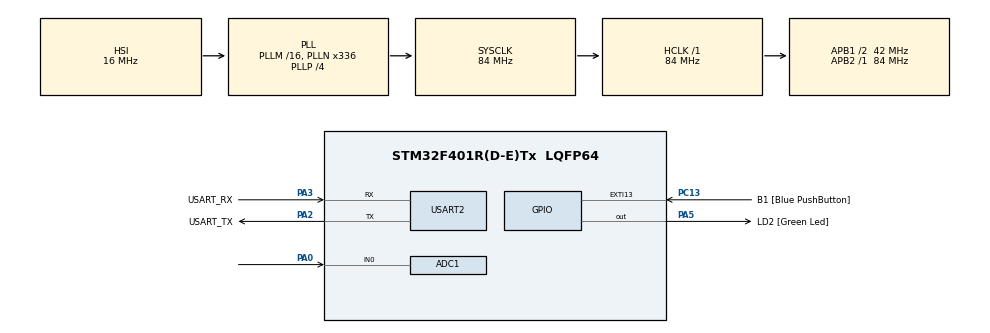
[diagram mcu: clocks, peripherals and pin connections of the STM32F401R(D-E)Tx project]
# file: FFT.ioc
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ADC1.Channel-0\#ChannelRegularConversion=ADC_CHANNEL_0
ADC1.ClockPrescaler=ADC_CLOCK_SYNC_PCLK_DIV4
ADC1.DMAContinuousRequests=ENABLE
ADC1.ExternalTrigConv=ADC_EXTERNALTRIGCONV_T3_TRGO
ADC1.NbrOfConversion=1
ADC1.NbrOfConversionFlag=1
ADC1.Rank-0\#ChannelRegularConversion=1
ADC1.SamplingTime-0\#ChannelRegularConversion=ADC_SAMPLETIME_144CYCLES
ADC1.master=1
Dma.ADC1.0.Direction=DMA_PERIPH_TO_MEMORY
Dma.ADC1.0.FIFOMode=DMA_FIFOMODE_DISABLE
Dma.ADC1.0.Instance=DMA2_Stream0
Dma.ADC1.0.MemDataAlignment=DMA_MDATAALIGN_HALFWORD
Dma.ADC1.0.MemInc=DMA_MINC_ENABLE
Dma.ADC1.0.Mode=DMA_CIRCULAR
Dma.ADC1.0.PeriphDataAlignment=DMA_PDATAALIGN_HALFWORD
Dma.ADC1.0.PeriphInc=DMA_PINC_DISABLE
Dma.ADC1.0.Priority=DMA_PRIORITY_HIGH
Dma.Request0=ADC1
Mcu.Family=STM32F4
Mcu.Name=STM32F401R(D-E)Tx
Mcu.Package=LQFP64
NVIC.DMA2_Stream0_IRQn=true\:0\:0\:false\:false\:true\:false\:true\:true
NVIC.PriorityGroup=NVIC_PRIORITYGROUP_0
PA0-WKUP.Signal=ADCx_IN0
PA13.GPIO_Label=TMS
PA13.Mode=Serial_Wire
PA13.Signal=SYS_JTMS-SWDIO
PA14.GPIO_Label=TCK
PA14.Mode=Serial_Wire
PA14.Signal=SYS_JTCK-SWCLK
PA2.GPIO_Label=USART_TX
PA2.GPIO_Mode=GPIO_MODE_AF_PP
PA2.GPIO_PuPd=GPIO_NOPULL
PA2.GPIO_Speed=GPIO_SPEED_FREQ_LOW
PA2.Mode=Asynchronous
PA2.Signal=USART2_TX
PA3.GPIO_Label=USART_RX
PA3.GPIO_Mode=GPIO_MODE_AF_PP
PA3.GPIO_PuPd=GPIO_NOPULL
PA3.GPIO_Speed=GPIO_SPEED_FREQ_LOW
PA3.Mode=Asynchronous
PA3.Signal=USART2_RX
PA5.GPIO_Label=LD2 [Green Led]
PA5.GPIO_Mode=GPIO_MODE_OUTPUT_PP
PA5.GPIO_PuPd=GPIO_NOPULL
PA5.GPIO_Speed=GPIO_SPEED_FREQ_LOW
PA5.Signal=GPIO_Output
PB3.GPIO_Label=SWO
PB3.Signal=SYS_JTDO-SWO
PC13-ANTI_TAMP.GPIO_Label=B1 [Blue PushButton]
PC13-ANTI_TAMP.GPIO_ModeDefaultEXTI=GPIO_MODE_IT_FALLING
PC13-ANTI_TAMP.GPIO_PuPd=GPIO_NOPULL
PC13-ANTI_TAMP.Signal=GPXTI13
PC14-OSC32_IN.Mode=LSE-External-Oscillator
PC14-OSC32_IN.Signal=RCC_OSC32_IN
PC15-OSC32_OUT.Mode=LSE-External-Oscillator
PC15-OSC32_OUT.Signal=RCC_OSC32_OUT
PH0\ -\ OSC_IN.Mode=HSE-External-Clock-Source
PH0\ -\ OSC_IN.Signal=RCC_OSC_IN
PH1\ -\ OSC_OUT.Mode=HSE-External-Clock-Source
PH1\ -\ OSC_OUT.Signal=RCC_OSC_OUT
ProjectManager.HeapSize=0x200
ProjectManager.StackSize=0x400
ProjectManager.TargetToolchain=STM32CubeIDE
RCC.48MHZClocksFreq_Value=48000000
RCC.AHBFreq_Value=84000000
RCC.APB1CLKDivider=RCC_HCLK_DIV2
RCC.APB1Freq_Value=42000000
RCC.APB1TimFreq_Value=84000000
RCC.APB2Freq_Value=84000000
RCC.APB2TimFreq_Value=84000000
RCC.CortexFreq_Value=84000000
RCC.HCLKFreq_Value=84000000
RCC.HSE_VALUE=8000000
RCC.HSI_VALUE=16000000
RCC.PLLN=336
RCC.PLLP=RCC_PLLP_DIV4
RCC.PLLQ=7
RCC.SYSCLKFreq_VALUE=84000000
RCC.SYSCLKSource=RCC_SYSCLKSOURCE_PLLCLK
RCC.VCOOutputFreq_Value=336000000
SH.ADCx_IN0.0=ADC1_IN0,IN0
TIM3.Period=8399
TIM3.Prescaler=0
TIM3.TIM_MasterOutputTrigger=TIM_TRGO_UPDATE
USART2.VirtualMode=VM_ASYNC
VP_TIM3_VS_ClockSourceINT.Mode=Internal
board=NUCLEO-F401RE

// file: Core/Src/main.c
/* USER CODE BEGIN Header */
/**
  ******************************************************************************
  * @file           : main.c
  * @brief          : Main program body
  ******************************************************************************
  * @attention
  *
  * Copyright (c) 2024 STMicroelectronics.
  * All rights reserved.
  *
  * This software is licensed under terms that can be found in the LICENSE file
  * in the root directory of this software component.
  * If no LICENSE file comes with this software, it is provided AS-IS.
  *
  ******************************************************************************
  */
/* USER CODE END Header */
#include "main.h"

/* USER CODE BEGIN Includes */
#define ARM_MATH_CM4 //required to tell the math library what our device is
#include "arm_math.h"
/* USER CODE END Includes */

/* USER CODE BEGIN PD */
#define ADC_NUM_CONVERSIONS	1
#define BUFFER_SIZE 128 //size of our data buffers
/* USER CODE END PD */

ADC_HandleTypeDef hadc1;
DMA_HandleTypeDef hdma_adc1;

TIM_HandleTypeDef htim3;

UART_HandleTypeDef huart2;

/* USER CODE BEGIN PV */
uint16_t adcData[1];	//buffer for the ADC data from the ADC (set to 1 for now)

#define FFT_BUFFER_SIZE	4096
#define SAMPLE_RATE_HZ	10000

arm_rfft_fast_instance_f32 fftHandler;

float32_t fftBufIn[FFT_BUFFER_SIZE];
float32_t fftBufOut[FFT_BUFFER_SIZE];
float32_t magOutBuf[FFT_BUFFER_SIZE];

volatile uint8_t g_fftFlag = 0;

/* USER CODE END PV */

void SystemClock_Config(void);
static void MX_GPIO_Init(void);
static void MX_DMA_Init(void);
static void MX_USART2_UART_Init(void);
static void MX_ADC1_Init(void);
static void MX_TIM3_Init(void);
/* USER CODE BEGIN PFP */
#define PUTCHAR_PROTOTYPE int __io_putchar(int ch)

/* USER CODE END PFP */

/* USER CODE BEGIN 0 */

//this function is called every time an ADC conversion is complete
void HAL_ADC_ConvCpltCallback(ADC_HandleTypeDef *hadc)
{
	static uint16_t fftIndex = 0;

	//printf("Result = %i\r\n", adcData[0]);

	if(!g_fftFlag)
	{
		fftBufIn[fftIndex] = (float32_t)adcData[0];	//fill the fft buffer with ADC data converted to float
		fftIndex++;

		if(fftIndex == FFT_BUFFER_SIZE)	//the fft input buffer has been filled with data
		{

		//	HAL_TIM_Base_Stop(&htim3);
			g_fftFlag = 1;	//set flag to indicate that the fft is ready
			fftIndex = 0;	//reset index
		//	printf("ADC = %i\r\n", adcData[0]);
		//	printf("float ADC = %f\r\n", (float)adcData[0]);

		}
	}

}
/* USER CODE END 0 */

int main(void)
{

  /* MCU Configuration--------------------------------------------------------*/

  /* Reset of all peripherals, Initializes the Flash interface and the Systick. */
  HAL_Init();

  /* Configure the system clock */
  SystemClock_Config();

  /* Initialize all configured peripherals */
  MX_GPIO_Init();
  MX_DMA_Init();
  MX_USART2_UART_Init();
  MX_ADC1_Init();
  MX_TIM3_Init();
  /* USER CODE BEGIN 2 */

  arm_rfft_fast_init_f32(&fftHandler, FFT_BUFFER_SIZE);

  HAL_ADC_Start_DMA(&hadc1, (uint32_t *) adcData, ADC_NUM_CONVERSIONS); //start the ADC and link it with the DMA

  HAL_TIM_Base_Start(&htim3);

  /* USER CODE END 2 */

  /* Infinite loop */
  /* USER CODE BEGIN WHILE */

  float32_t peakVal = 0.0f;
  uint16_t peakHz = 0;
  float32_t curVal = 0.0f;
  int16_t val = 0.0f;
  float32_t MaxVal = 0.0f;
  uint16_t MaxIndex = 0;

/*
  for(int x = 0; x < FFT_BUFFER_SIZE; x++)
  {
	  val = 500 * sin((2 * 3.141 * 1250 * x) / SAMPLE_RATE_HZ);	//sine wave for 100Hz
	  val += 1000 * sin((2 * 3.141 * 700 * x) / SAMPLE_RATE_HZ);	//sine wave for 500Hz
	//  val += 0.75 * sin(2 * 3.141 * 2000 * x);	//sine wave for 2kHz
	  fftBufIn[x] = (float32_t)val;

  }

  arm_rfft_fast_f32(&fftHandler, &fftBufIn, &fftBufOut, 0);	//perform FFT and send results to out buffer
  arm_cmplx_mag_f32(&fftBufOut, &magOutBuf, FFT_BUFFER_SIZE/2);
  arm_max_f32(&magOutBuf, FFT_BUFFER_SIZE/2, &MaxVal, &MaxIndex);
  printf("Index = %i\r\n", MaxIndex);
  printf("Freq = %i\r\n", (uint16_t) (MaxIndex * (SAMPLE_RATE_HZ) / (FFT_BUFFER_SIZE)));
*/

  while (1)
  {
	  //if(g_fftFlag)
	  if(g_fftFlag)
	  {

		  arm_rfft_fast_f32(&fftHandler, &fftBufIn, &fftBufOut, 0);	//perform FFT and send results to out buffer
		  arm_cmplx_mag_f32(&fftBufOut, &magOutBuf, FFT_BUFFER_SIZE/2);
		  magOutBuf[0] = 0;	//the first value represents the DC bias. See documentation https://arm-software.github.io/CMSIS-DSP/latest/group__RealFFT.html
		  arm_max_f32(&magOutBuf, FFT_BUFFER_SIZE/2, &MaxVal, &MaxIndex);
		  printf("Index = %i\r\n", MaxIndex);
		  printf("Frequency = %i\r\n", (uint16_t) (MaxIndex * (SAMPLE_RATE_HZ) / (FFT_BUFFER_SIZE)));
	//	  HAL_TIM_Base_Start(&htim3);
		  g_fftFlag = 0;
	  }
    /* USER CODE END WHILE */

  }
}

void SystemClock_Config(void)
{
  RCC_OscInitTypeDef RCC_OscInitStruct = {0};
  RCC_ClkInitTypeDef RCC_ClkInitStruct = {0};

  /** Configure the main internal regulator output voltage
  */
  __HAL_RCC_PWR_CLK_ENABLE();
  __HAL_PWR_VOLTAGESCALING_CONFIG(PWR_REGULATOR_VOLTAGE_SCALE2);

  /** Initializes the RCC Oscillators according to the specified parameters
  * in the RCC_OscInitTypeDef structure.
  */
  RCC_OscInitStruct.OscillatorType = RCC_OSCILLATORTYPE_HSI;
  RCC_OscInitStruct.HSIState = RCC_HSI_ON;
  RCC_OscInitStruct.HSICalibrationValue = RCC_HSICALIBRATION_DEFAULT;
  RCC_OscInitStruct.PLL.PLLState = RCC_PLL_ON;
  RCC_OscInitStruct.PLL.PLLSource = RCC_PLLSOURCE_HSI;
  RCC_OscInitStruct.PLL.PLLM = 16;
  RCC_OscInitStruct.PLL.PLLN = 336;
  RCC_OscInitStruct.PLL.PLLP = RCC_PLLP_DIV4;
  RCC_OscInitStruct.PLL.PLLQ = 7;
  if (HAL_RCC_OscConfig(&RCC_OscInitStruct) != HAL_OK)
  {
    Error_Handler();
  }

  /** Initializes the CPU, AHB and APB buses clocks
  */
  RCC_ClkInitStruct.ClockType = RCC_CLOCKTYPE_HCLK|RCC_CLOCKTYPE_SYSCLK
                              |RCC_CLOCKTYPE_PCLK1|RCC_CLOCKTYPE_PCLK2;
  RCC_ClkInitStruct.SYSCLKSource = RCC_SYSCLKSOURCE_PLLCLK;
  RCC_ClkInitStruct.AHBCLKDivider = RCC_SYSCLK_DIV1;
  RCC_ClkInitStruct.APB1CLKDivider = RCC_HCLK_DIV2;
  RCC_ClkInitStruct.APB2CLKDivider = RCC_HCLK_DIV1;

  if (HAL_RCC_ClockConfig(&RCC_ClkInitStruct, FLASH_LATENCY_2) != HAL_OK)
  {
    Error_Handler();
  }
}

static void MX_ADC1_Init(void)
{

  ADC_ChannelConfTypeDef sConfig = {0};

  /** Configure the global features of the ADC (Clock, Resolution, Data Alignment and number of conversion)
  */
  hadc1.Instance = ADC1;
  hadc1.Init.ClockPrescaler = ADC_CLOCK_SYNC_PCLK_DIV4;
  hadc1.Init.Resolution = ADC_RESOLUTION_12B;
  hadc1.Init.ScanConvMode = DISABLE;
  hadc1.Init.ContinuousConvMode = DISABLE;
  hadc1.Init.DiscontinuousConvMode = DISABLE;
  hadc1.Init.ExternalTrigConvEdge = ADC_EXTERNALTRIGCONVEDGE_RISING;
  hadc1.Init.ExternalTrigConv = ADC_EXTERNALTRIGCONV_T3_TRGO;
  hadc1.Init.DataAlign = ADC_DATAALIGN_RIGHT;
  hadc1.Init.NbrOfConversion = 1;
  hadc1.Init.DMAContinuousRequests = ENABLE;
  hadc1.Init.EOCSelection = ADC_EOC_SINGLE_CONV;
  if (HAL_ADC_Init(&hadc1) != HAL_OK)
  {
    Error_Handler();
  }

  /** Configure for the selected ADC regular channel its corresponding rank in the sequencer and its sample time.
  */
  sConfig.Channel = ADC_CHANNEL_0;
  sConfig.Rank = 1;
  sConfig.SamplingTime = ADC_SAMPLETIME_144CYCLES;
  if (HAL_ADC_ConfigChannel(&hadc1, &sConfig) != HAL_OK)
  {
    Error_Handler();
  }

}

static void MX_TIM3_Init(void)
{

  TIM_ClockConfigTypeDef sClockSourceConfig = {0};
  TIM_MasterConfigTypeDef sMasterConfig = {0};

  htim3.Instance = TIM3;
  htim3.Init.Prescaler = 0;
  htim3.Init.CounterMode = TIM_COUNTERMODE_UP;
  htim3.Init.Period = 8399;
  htim3.Init.ClockDivision = TIM_CLOCKDIVISION_DIV1;
  htim3.Init.AutoReloadPreload = TIM_AUTORELOAD_PRELOAD_DISABLE;
  if (HAL_TIM_Base_Init(&htim3) != HAL_OK)
  {
    Error_Handler();
  }
  sClockSourceConfig.ClockSource = TIM_CLOCKSOURCE_INTERNAL;
  if (HAL_TIM_ConfigClockSource(&htim3, &sClockSourceConfig) != HAL_OK)
  {
    Error_Handler();
  }
  sMasterConfig.MasterOutputTrigger = TIM_TRGO_UPDATE;
  sMasterConfig.MasterSlaveMode = TIM_MASTERSLAVEMODE_DISABLE;
  if (HAL_TIMEx_MasterConfigSynchronization(&htim3, &sMasterConfig) != HAL_OK)
  {
    Error_Handler();
  }

}

static void MX_USART2_UART_Init(void)
{

  huart2.Instance = USART2;
  huart2.Init.BaudRate = 115200;
  huart2.Init.WordLength = UART_WORDLENGTH_8B;
  huart2.Init.StopBits = UART_STOPBITS_1;
  huart2.Init.Parity = UART_PARITY_NONE;
  huart2.Init.Mode = UART_MODE_TX_RX;
  huart2.Init.HwFlowCtl = UART_HWCONTROL_NONE;
  huart2.Init.OverSampling = UART_OVERSAMPLING_16;
  if (HAL_UART_Init(&huart2) != HAL_OK)
  {
    Error_Handler();
  }

}

static void MX_DMA_Init(void)
{

  /* DMA controller clock enable */
  __HAL_RCC_DMA2_CLK_ENABLE();

  /* DMA interrupt init */
  /* DMA2_Stream0_IRQn interrupt configuration */
  HAL_NVIC_SetPriority(DMA2_Stream0_IRQn, 0, 0);
  HAL_NVIC_EnableIRQ(DMA2_Stream0_IRQn);

}

static void MX_GPIO_Init(void)
{
  GPIO_InitTypeDef GPIO_InitStruct = {0};

  /* GPIO Ports Clock Enable */
  __HAL_RCC_GPIOC_CLK_ENABLE();
  __HAL_RCC_GPIOH_CLK_ENABLE();
  __HAL_RCC_GPIOA_CLK_ENABLE();
  __HAL_RCC_GPIOB_CLK_ENABLE();

  /*Configure GPIO pin Output Level */
  HAL_GPIO_WritePin(LD2_GPIO_Port, LD2_Pin, GPIO_PIN_RESET);

  /*Configure GPIO pin : B1_Pin */
  GPIO_InitStruct.Pin = B1_Pin;
  GPIO_InitStruct.Mode = GPIO_MODE_IT_FALLING;
  GPIO_InitStruct.Pull = GPIO_NOPULL;
  HAL_GPIO_Init(B1_GPIO_Port, &GPIO_InitStruct);

  /*Configure GPIO pin : LD2_Pin */
  GPIO_InitStruct.Pin = LD2_Pin;
  GPIO_InitStruct.Mode = GPIO_MODE_OUTPUT_PP;
  GPIO_InitStruct.Pull = GPIO_NOPULL;
  GPIO_InitStruct.Speed = GPIO_SPEED_FREQ_LOW;
  HAL_GPIO_Init(LD2_GPIO_Port, &GPIO_InitStruct);

}

/* USER CODE BEGIN 4 */
PUTCHAR_PROTOTYPE
{
  HAL_UART_Transmit(&huart2, (uint8_t *)&ch, 1, 0xFFFF);
  return ch;
}
/* USER CODE END 4 */

void Error_Handler(void)
{
  __disable_irq();
  while (1)
  {
  }
}
